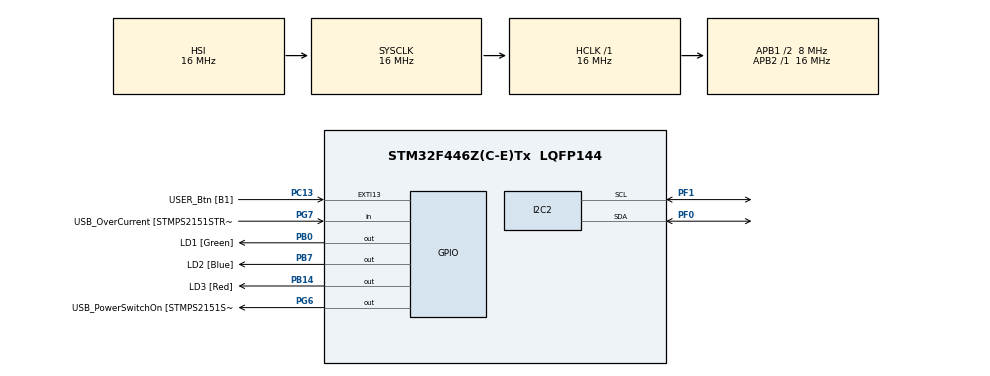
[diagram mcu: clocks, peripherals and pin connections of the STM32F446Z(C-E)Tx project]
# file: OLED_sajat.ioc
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Mcu.Family=STM32F4
Mcu.Name=STM32F446Z(C-E)Tx
Mcu.Package=LQFP144
NVIC.PriorityGroup=NVIC_PRIORITYGROUP_4
PA10.GPIO_Label=USB_ID
PA10.Signal=USB_OTG_FS_ID
PA11.GPIO_Label=USB_DM
PA11.Signal=USB_OTG_FS_DM
PA12.GPIO_Label=USB_DP
PA12.Signal=USB_OTG_FS_DP
PA13.GPIO_Label=TMS
PA13.Signal=SYS_JTMS-SWDIO
PA14.GPIO_Label=TCK
PA14.Signal=SYS_JTCK-SWCLK
PA8.GPIO_Label=USB_SOF [TP1]
PA8.Signal=USB_OTG_FS_SOF
PA9.GPIO_Label=USB_VBUS
PA9.Signal=USB_OTG_FS_VBUS
PB0.GPIO_Label=LD1 [Green]
PB0.Signal=GPIO_Output
PB14.GPIO_Label=LD3 [Red]
PB14.Signal=GPIO_Output
PB7.GPIO_Label=LD2 [Blue]
PB7.Signal=GPIO_Output
PC13.GPIO_Label=USER_Btn [B1]
PC13.Signal=GPXTI13
PC14-OSC32_IN.Signal=RCC_OSC32_IN
PC15-OSC32_OUT.Signal=RCC_OSC32_OUT
PD8.GPIO_Label=STLK_RX [STM32F103CBT6_PA3]
PD8.Signal=USART3_TX
PD9.GPIO_Label=STLK_TX [STM32F103CBT6_PA2]
PD9.Signal=USART3_RX
PF0.Mode=I2C
PF0.Signal=I2C2_SDA
PF1.Mode=I2C
PF1.Signal=I2C2_SCL
PG6.GPIO_Label=USB_PowerSwitchOn [STMPS2151STR_EN]
PG6.Signal=GPIO_Output
PG7.GPIO_Label=USB_OverCurrent [STMPS2151STR_FAULT]
PG7.Signal=GPIO_Input
PH0-OSC_IN.GPIO_Label=MCO [STM32F103CBT6_PA8]
PH0-OSC_IN.Signal=RCC_OSC_IN
PH1-OSC_OUT.Signal=RCC_OSC_OUT
ProjectManager.HeapSize=0x200
ProjectManager.StackSize=0x400
ProjectManager.TargetToolchain=STM32CubeIDE
RCC.48MHZClocksFreq_Value=24000000
RCC.AHBFreq_Value=16000000
RCC.APB1CLKDivider=RCC_HCLK_DIV2
RCC.APB1Freq_Value=8000000
RCC.APB1TimFreq_Value=16000000
RCC.APB2Freq_Value=16000000
RCC.APB2TimFreq_Value=16000000
RCC.CortexFreq_Value=16000000
RCC.HCLKFreq_Value=16000000
RCC.HSE_VALUE=8000000
RCC.HSI_VALUE=16000000
RCC.LSE_VALUE=32768
RCC.PLLMUL=RCC_PLL_MUL9
RCC.PRESCALERUSB=RCC_USBCLKSOURCE_PLL_DIV1_5
RCC.SYSCLKFreq_VALUE=16000000
RCC.SYSCLKSourceVirtual=RCC_SYSCLKSOURCE_PLLCLK
RCC.USBFreq_Value=96000000
RCC.VCOOutputFreq_Value=192000000
board=NUCLEO-F446ZE

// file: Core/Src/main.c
/* USER CODE BEGIN Header */
/**
  ******************************************************************************
  * @file           : main.c
  * @brief          : Main program body
  ******************************************************************************
  * @attention
  *
  * Copyright (c) 2026 STMicroelectronics.
  * All rights reserved.
  *
  * This software is licensed under terms that can be found in the LICENSE file
  * in the root directory of this software component.
  * If no LICENSE file comes with this software, it is provided AS-IS.
  *
  ******************************************************************************
  */
/* USER CODE END Header */
#include "main.h"

/* USER CODE BEGIN Includes */
#include "OLED.h"
/* USER CODE END Includes */

I2C_HandleTypeDef hi2c2;

void SystemClock_Config(void);
static void MX_GPIO_Init(void);
static void MX_I2C2_Init(void);

/* USER CODE BEGIN 0 */

void OLED_TestCCE()
{
    OLED_SetCursor(25, 5);
    OLED_WriteString("Imets", Font_11x18, WHITE);
    OLED_SetCursor(36, 5+18);
    OLED_WriteString("Jozsef", Font_11x18, WHITE);
    OLED_SetCursor(3, 5+18+18);
    OLED_WriteString("Aba", Font_11x18, WHITE);

    return;
}

/* USER CODE END 0 */

int main(void)
{

  /* MCU Configuration--------------------------------------------------------*/

  /* Reset of all peripherals, Initializes the Flash interface and the Systick. */
  HAL_Init();

  /* Configure the system clock */
  SystemClock_Config();

  /* Initialize all configured peripherals */
  MX_GPIO_Init();
  MX_I2C2_Init();
  /* USER CODE BEGIN 2 */

  //Init OLED display
  OLED_Init();

  HAL_Delay(1000);
  OLED_Fill(BLACK);
  OLED_UpdateScreen();
  HAL_Delay(1000);

  /* USER CODE END 2 */

  /* Infinite loop */
  while (1)
  {

    /* USER CODE BEGIN 3 */
	  OLED_TestCCE();
	  OLED_UpdateScreen();
	  HAL_Delay(50);
  }
  /* USER CODE END 3 */
}

void SystemClock_Config(void)
{
  RCC_OscInitTypeDef RCC_OscInitStruct = {0};
  RCC_ClkInitTypeDef RCC_ClkInitStruct = {0};

  /** Configure the main internal regulator output voltage
  */
  __HAL_RCC_PWR_CLK_ENABLE();
  __HAL_PWR_VOLTAGESCALING_CONFIG(PWR_REGULATOR_VOLTAGE_SCALE3);

  /** Initializes the RCC Oscillators according to the specified parameters
  * in the RCC_OscInitTypeDef structure.
  */
  RCC_OscInitStruct.OscillatorType = RCC_OSCILLATORTYPE_HSI;
  RCC_OscInitStruct.HSIState = RCC_HSI_ON;
  RCC_OscInitStruct.HSICalibrationValue = RCC_HSICALIBRATION_DEFAULT;
  RCC_OscInitStruct.PLL.PLLState = RCC_PLL_NONE;
  if (HAL_RCC_OscConfig(&RCC_OscInitStruct) != HAL_OK)
  {
    Error_Handler();
  }

  /** Initializes the CPU, AHB and APB buses clocks
  */
  RCC_ClkInitStruct.ClockType = RCC_CLOCKTYPE_HCLK|RCC_CLOCKTYPE_SYSCLK
                              |RCC_CLOCKTYPE_PCLK1|RCC_CLOCKTYPE_PCLK2;
  RCC_ClkInitStruct.SYSCLKSource = RCC_SYSCLKSOURCE_HSI;
  RCC_ClkInitStruct.AHBCLKDivider = RCC_SYSCLK_DIV1;
  RCC_ClkInitStruct.APB1CLKDivider = RCC_HCLK_DIV2;
  RCC_ClkInitStruct.APB2CLKDivider = RCC_HCLK_DIV1;

  if (HAL_RCC_ClockConfig(&RCC_ClkInitStruct, FLASH_LATENCY_0) != HAL_OK)
  {
    Error_Handler();
  }
}

static void MX_I2C2_Init(void)
{

  hi2c2.Instance = I2C2;
  hi2c2.Init.ClockSpeed = 100000;
  hi2c2.Init.DutyCycle = I2C_DUTYCYCLE_2;
  hi2c2.Init.OwnAddress1 = 0;
  hi2c2.Init.AddressingMode = I2C_ADDRESSINGMODE_7BIT;
  hi2c2.Init.DualAddressMode = I2C_DUALADDRESS_DISABLE;
  hi2c2.Init.OwnAddress2 = 0;
  hi2c2.Init.GeneralCallMode = I2C_GENERALCALL_DISABLE;
  hi2c2.Init.NoStretchMode = I2C_NOSTRETCH_DISABLE;
  if (HAL_I2C_Init(&hi2c2) != HAL_OK)
  {
    Error_Handler();
  }

}

static void MX_GPIO_Init(void)
{
  GPIO_InitTypeDef GPIO_InitStruct = {0};

  /* GPIO Ports Clock Enable */
  __HAL_RCC_GPIOC_CLK_ENABLE();
  __HAL_RCC_GPIOF_CLK_ENABLE();
  __HAL_RCC_GPIOH_CLK_ENABLE();
  __HAL_RCC_GPIOB_CLK_ENABLE();
  __HAL_RCC_GPIOD_CLK_ENABLE();
  __HAL_RCC_GPIOG_CLK_ENABLE();
  __HAL_RCC_GPIOA_CLK_ENABLE();

  /*Configure GPIO pin Output Level */
  HAL_GPIO_WritePin(GPIOB, LD1_Pin|LD3_Pin|LD2_Pin, GPIO_PIN_RESET);

  /*Configure GPIO pin Output Level */
  HAL_GPIO_WritePin(USB_PowerSwitchOn_GPIO_Port, USB_PowerSwitchOn_Pin, GPIO_PIN_RESET);

  /*Configure GPIO pin : USER_Btn_Pin */
  GPIO_InitStruct.Pin = USER_Btn_Pin;
  GPIO_InitStruct.Mode = GPIO_MODE_IT_RISING;
  GPIO_InitStruct.Pull = GPIO_NOPULL;
  HAL_GPIO_Init(USER_Btn_GPIO_Port, &GPIO_InitStruct);

  /*Configure GPIO pins : LD1_Pin LD3_Pin LD2_Pin */
  GPIO_InitStruct.Pin = LD1_Pin|LD3_Pin|LD2_Pin;
  GPIO_InitStruct.Mode = GPIO_MODE_OUTPUT_PP;
  GPIO_InitStruct.Pull = GPIO_NOPULL;
  GPIO_InitStruct.Speed = GPIO_SPEED_FREQ_LOW;
  HAL_GPIO_Init(GPIOB, &GPIO_InitStruct);

  /*Configure GPIO pins : STLK_RX_Pin STLK_TX_Pin */
  GPIO_InitStruct.Pin = STLK_RX_Pin|STLK_TX_Pin;
  GPIO_InitStruct.Mode = GPIO_MODE_AF_PP;
  GPIO_InitStruct.Pull = GPIO_NOPULL;
  GPIO_InitStruct.Speed = GPIO_SPEED_FREQ_VERY_HIGH;
  GPIO_InitStruct.Alternate = GPIO_AF7_USART3;
  HAL_GPIO_Init(GPIOD, &GPIO_InitStruct);

  /*Configure GPIO pin : USB_PowerSwitchOn_Pin */
  GPIO_InitStruct.Pin = USB_PowerSwitchOn_Pin;
  GPIO_InitStruct.Mode = GPIO_MODE_OUTPUT_PP;
  GPIO_InitStruct.Pull = GPIO_NOPULL;
  GPIO_InitStruct.Speed = GPIO_SPEED_FREQ_LOW;
  HAL_GPIO_Init(USB_PowerSwitchOn_GPIO_Port, &GPIO_InitStruct);

  /*Configure GPIO pin : USB_OverCurrent_Pin */
  GPIO_InitStruct.Pin = USB_OverCurrent_Pin;
  GPIO_InitStruct.Mode = GPIO_MODE_INPUT;
  GPIO_InitStruct.Pull = GPIO_NOPULL;
  HAL_GPIO_Init(USB_OverCurrent_GPIO_Port, &GPIO_InitStruct);

  /*Configure GPIO pins : USB_SOF_Pin USB_ID_Pin USB_DM_Pin USB_DP_Pin */
  GPIO_InitStruct.Pin = USB_SOF_Pin|USB_ID_Pin|USB_DM_Pin|USB_DP_Pin;
  GPIO_InitStruct.Mode = GPIO_MODE_AF_PP;
  GPIO_InitStruct.Pull = GPIO_NOPULL;
  GPIO_InitStruct.Speed = GPIO_SPEED_FREQ_VERY_HIGH;
  GPIO_InitStruct.Alternate = GPIO_AF10_OTG_FS;
  HAL_GPIO_Init(GPIOA, &GPIO_InitStruct);

  /*Configure GPIO pin : USB_VBUS_Pin */
  GPIO_InitStruct.Pin = USB_VBUS_Pin;
  GPIO_InitStruct.Mode = GPIO_MODE_INPUT;
  GPIO_InitStruct.Pull = GPIO_NOPULL;
  HAL_GPIO_Init(USB_VBUS_GPIO_Port, &GPIO_InitStruct);

}

void Error_Handler(void)
{
  __disable_irq();
  while (1)
  {
  }
}
